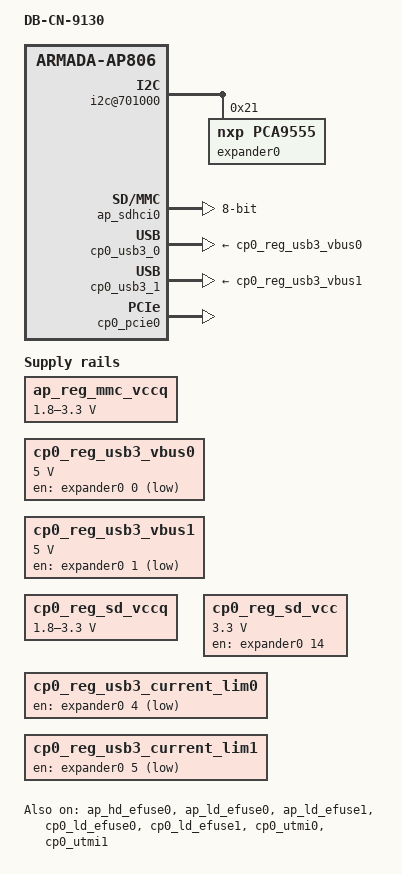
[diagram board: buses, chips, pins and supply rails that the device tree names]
// SPDX-License-Identifier: GPL-2.0+
/*
 * Copyright (C) 2018 Marvell International Ltd.
 */

#include "cn9130.dtsi" /* include SoC device tree */
#include "cn9130-db-dev-info.dtsi"

/ {
	model = "DB-CN-9130";
	compatible = "marvell,cn9030", "marvell,armada-ap806-quad",
		     "marvell,armada-ap806";

	cp0 {
		config-space {
			i2c@701000 {
				/* U36 */
				expander0: pca953x@21 {
					compatible = "nxp,pca9555";
					#gpio-cells = <2>;
					reg = <0x21>;
					status = "okay";
				};
			};
			sdhci@780000 {
				vqmmc-supply = <&cp0_reg_sd_vccq>;
				vmmc-supply = <&cp0_reg_sd_vcc>;
			};

			ap_reg_mmc_vccq: ap_mmc_vccq@0 {
				compatible = "regulator-gpio";
				regulator-name = "ap_mmc_vccq";
				regulator-min-microvolt = <1800000>;
				regulator-max-microvolt = <3300000>;
				gpios = <&expander0 8 GPIO_ACTIVE_HIGH>;
				states = <1800000 0x1
					  3300000 0x0>;
			};
			cp0_reg_usb3_vbus0: cp0_usb3_vbus@0 {
				compatible = "regulator-fixed";
				regulator-name = "cp0-xhci0-vbus";
				regulator-min-microvolt = <5000000>;
				regulator-max-microvolt = <5000000>;
				startup-delay-us = <100000>;
				regulator-force-boot-off;
				gpio = <&expander0 0 GPIO_ACTIVE_HIGH>;
			};

			cp0_reg_usb3_vbus1: cp0_usb3_vbus@1 {
				compatible = "regulator-fixed";
				regulator-name = "cp0-xhci1-vbus";
				regulator-min-microvolt = <5000000>;
				regulator-max-microvolt = <5000000>;
				startup-delay-us = <100000>;
				regulator-force-boot-off;
				gpio = <&expander0 1 GPIO_ACTIVE_HIGH>;
			};
			cp0_reg_sd_vccq: cp0_sd_vccq@0 {
				compatible = "regulator-gpio";
				regulator-name = "cp0_sd_vccq";
				regulator-min-microvolt = <1800000>;
				regulator-max-microvolt = <3300000>;
				gpios = <&expander0 15 GPIO_ACTIVE_HIGH>;
				states = <1800000 0x1
					  3300000 0x0>;
			};
			cp0_reg_sd_vcc: cp0_sd_vcc@0 {
				compatible = "regulator-fixed";
				regulator-name = "cp0_sd_vcc";
				regulator-min-microvolt = <3300000>;
				regulator-max-microvolt = <3300000>;
				gpio = <&expander0 14 GPIO_ACTIVE_HIGH>;
				enable-active-high;
				regulator-always-on;
			};
			cp0_reg_usb3_current_lim0:cp0_usb3_current_limiter@0 {
				compatible = "regulator-fixed";
				regulator-min-microamp = <900000>;
				regulator-max-microamp = <900000>;
				regulator-force-boot-off;
				gpio = <&expander0 4 GPIO_ACTIVE_HIGH>;
			};

			cp0_reg_usb3_current_lim1: cp0_usb3_current_limiter@1 {
				compatible = "regulator-fixed";
				regulator-min-microamp = <900000>;
				regulator-max-microamp = <900000>;
				regulator-force-boot-off;
				gpio = <&expander0 5 GPIO_ACTIVE_HIGH>;
			};
		};
	};
};

&ap_hd_efuse0 {
	status = "okay";
};

&ap_ld_efuse0 {
	status = "okay";
};

&ap_ld_efuse1 {
	status = "okay";
};

/* on-board eMMC - U9 */
&ap_sdhci0 {
	pinctrl-names = "default";
	pinctrl-0 = <&ap_emmc_pins>;
	vqmmc-supply = <&ap_reg_mmc_vccq>;
	bus-width = <8>;
	mmc-ddr-1_8v;
	mmc-hs400-1_8v;
	status = "okay";
};

/*
 * CP0
 */
&cp0_ld_efuse0 {
	status = "okay";
};

&cp0_ld_efuse1 {
	status = "okay";
};

&cp0_utmi0 {
	status = "okay";
};

&cp0_utmi1 {
	status = "okay";
};

&cp0_usb3_0 {
	status = "okay";
	vbus-supply = <&cp0_reg_usb3_vbus0>;
	current-limiter = <&cp0_reg_usb3_current_lim0>;
	vbus-disable-delay = <500>;
};

&cp0_usb3_1 {
	status = "okay";
	vbus-supply = <&cp0_reg_usb3_vbus1>;
	current-limiter = <&cp0_reg_usb3_current_lim1>;
	vbus-disable-delay = <500>;
};

&cp0_pcie0 {
	status = "okay";
};
